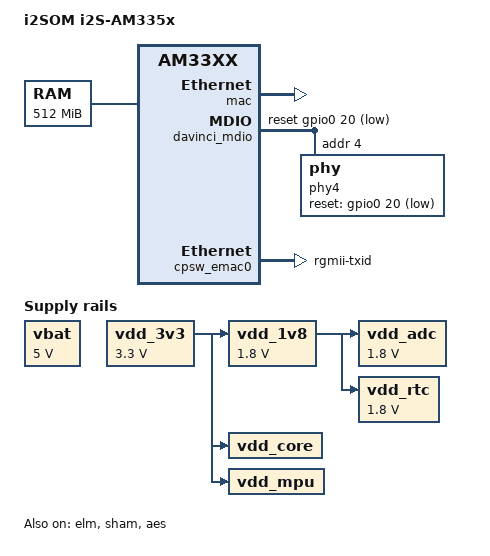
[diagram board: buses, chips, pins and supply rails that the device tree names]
/*
 * Copyright (C) 2012 Texas Instruments Incorporated - http://www.ti.com/
 *
 * This program is free software; you can redistribute it and/or modify
 * it under the terms of the GNU General Public License version 2 as
 * published by the Free Software Foundation.
 */

#include "am33xx.dtsi"
#include <dt-bindings/interrupt-controller/irq.h>

/ {
	model = "i2SOM i2S-AM335x";
	compatible = "ti,i2s_am335x", "ti,am33xx";

	cpus {
		cpu@0 {
			cpu0-supply = <&vdd_core>;
		};
	};

	memory {
		device_type = "memory";
		reg = <0x80000000 0x20000000>; /* 512 MB */
	};

	vbat: fixedregulator@0 {
		compatible = "regulator-fixed";
		regulator-name = "vbat";
		regulator-min-microvolt = <5000000>;
		regulator-max-microvolt = <5000000>;
		regulator-boot-on;
		regulator-always-on;
	};
	
	vdd_3v3: fixedregulator@1{
		compatible = "regulator-fixed";
		regulator-name = "vdd_3v3";
		regulator-min-microvolt = <3300000>;
		regulator-max-microvolt = <3300000>;
		regulator-boot-on;
		regulator-always-on;
	};
	
	vdd_1v8: fixedregulator@2{
		compatible = "regulator-fixed";
		regulator-name = "vdd_1v8";
		regulator-min-microvolt = <1800000>;
		regulator-max-microvolt = <1800000>;
		vin-supply = <&vdd_3v3>;
		regulator-boot-on;
		regulator-always-on;
	};
	
	vdd_core: fixedregulator@4{
		compatible = "regulator-fixed";
		regulator-name = "vdd_core";
		vin-supply = <&vdd_3v3>;
		regulator-boot-on;
		regulator-always-on;
	};
	
	vdd_mpu: fixedregulator@5{
		compatible = "regulator-fixed";
		regulator-name = "vdd_mpu";
		vin-supply = <&vdd_3v3>;
		regulator-boot-on;
		regulator-always-on;
	};
	
	vdd_adc: fixedregulator@6{
		compatible = "regulator-fixed";
		regulator-name = "vdd_adc";
		regulator-min-microvolt = <1800000>;
		regulator-max-microvolt = <1800000>;
		vin-supply = <&vdd_1v8>;
		regulator-boot-on;
		regulator-always-on;
	};
	
	vdd_rtc: fixedregulator@7{
		compatible = "regulator-fixed";
		regulator-name = "vdd_rtc";
		regulator-min-microvolt = <1800000>;
		regulator-max-microvolt = <1800000>;
		vin-supply = <&vdd_1v8>;
		regulator-boot-on;
		regulator-always-on;
	};

	panel {
		compatible = "ti,tilcdc,panel";
		status = "disabled";

		panel-info {
			ac-bias           = <255>;
			ac-bias-intrpt    = <0>;
			dma-burst-sz      = <16>;
			bpp               = <16>;
			fdd               = <0x80>;
			sync-edge         = <0>;
			sync-ctrl         = <1>;
			raster-order      = <0>;
			fifo-th           = <0>;
		};

		display-timings {
			480x272 {
				clock-frequency = <9000000>;
				hactive = <480>;
				vactive = <272>;
				hfront-porch = <9>;
				hback-porch = <43>;
				hsync-len = <4>;
				vback-porch = <12>;
				vfront-porch = <4>;
				vsync-len = <10>;
				hsync-active = <0>;
				vsync-active = <0>;
			};
		};
	};
};

&am33xx_pinmux {

	i2c0_pins: pinmux_i2c0_pins {
		pinctrl-single,pins = <
			0x188 (PIN_INPUT_PULLUP | MUX_MODE0)	/* i2c0_sda.i2c0_sda */
			0x18c (PIN_INPUT_PULLUP | MUX_MODE0)	/* i2c0_scl.i2c0_scl */
		>;
	};

	i2c1_pins_default: pinmux_i2c1_pins {
		pinctrl-single,pins = <
			0x158 (PIN_INPUT_PULLUP | MUX_MODE2)	/* spi0_d1.i2c1_sda */
			0x15c (PIN_INPUT_PULLUP | MUX_MODE2)	/* spi0_cs0.i2c1_scl */
		>;
	};

	i2c1_pins_sleep: i2c1_pins_sleep {
		pinctrl-single,pins = <
			0x158 (PIN_INPUT_PULLDOWN | MUX_MODE7)	/* spi0_d1.i2c1_sda */
			0x15c (PIN_INPUT_PULLDOWN | MUX_MODE7)	/* spi0_cs0.i2c1_scl */
		>;
	};

	uart0_pins: pinmux_uart0_pins {
		pinctrl-single,pins = <
			0x170 (PIN_INPUT_PULLUP | MUX_MODE0)	/* uart0_rxd.uart0_rxd */
			0x174 (PIN_OUTPUT_PULLDOWN | MUX_MODE0)	/* uart0_txd.uart0_txd */
		>;
	};

	uart1_pins_default: pinmux_uart1_pins_default {
		pinctrl-single,pins = <
			0x180 (PIN_INPUT_PULLUP | MUX_MODE0)    /* uart1_rxd.uart1_rxd */
			0x184 (PIN_OUTPUT_PULLDOWN | MUX_MODE0)         /* uart1_txd.uart1_txd */
                >;
        };

	uart1_pins_sleep: pinmux_uart1_pins_sleep {
		pinctrl-single,pins = <
			0x180 (PIN_INPUT_PULLDOWN | MUX_MODE7)
			0x184 (PIN_INPUT_PULLDOWN | MUX_MODE7)
                >;
        };


	uart2_pins_default: pinmux_uart2_pins_default {
		pinctrl-single,pins = <
			0x10c ( PIN_INPUT | MUX_MODE6 ) /* (H17) gmii1_crs.uart2_rxd */
			0x110 ( PIN_OUTPUT | MUX_MODE6 ) /* (J15) gmii1_rxer.uart2_txd */
		>;
	};

	uart2_pins_sleep: pinmux_uart2_pins_sleep {
		pinctrl-single,pins = <
			0x10C (PIN_INPUT_PULLDOWN | MUX_MODE7)
			0x110 (PIN_INPUT_PULLDOWN | MUX_MODE7)
		>;
	};

	ehrpwm0_pins_default: backlight_pins {
		pinctrl-single,pins = <
			0x150 0x3	/* (A17) spi0_sclk.ehrpwm0A */
		>;
	};

	ehrpwm0_pins_sleep: ehrpwm0_pins_sleep {
		pinctrl-single,pins = <
			0x150  (PIN_INPUT_PULLDOWN | MUX_MODE3)	/* (A17) spi0_sclk.ehrpwm0A */
		>;
	};

	cpsw_default: cpsw_default {
		pinctrl-single,pins = <
			/* Slave 1 */
			0x114 (PIN_OUTPUT_PULLDOWN | MUX_MODE2)	/* mii1_txen.rgmii1_tctl */
			0x118 (PIN_INPUT_PULLDOWN | MUX_MODE2)	/* mii1_rxdv.rgmii1_rctl */
			0x11c (PIN_OUTPUT_PULLDOWN | MUX_MODE2)	/* mii1_txd3.rgmii1_td3 */
			0x120 (PIN_OUTPUT_PULLDOWN | MUX_MODE2)	/* mii1_txd2.rgmii1_td2 */
			0x124 (PIN_OUTPUT_PULLDOWN | MUX_MODE2)	/* mii1_txd1.rgmii1_td1 */
			0x128 (PIN_OUTPUT_PULLDOWN | MUX_MODE2)	/* mii1_txd0.rgmii1_td0 */
			0x12c (PIN_OUTPUT_PULLDOWN | MUX_MODE2)	/* mii1_txclk.rgmii1_tclk */
			0x130 (PIN_INPUT_PULLDOWN | MUX_MODE2)	/* mii1_rxclk.rgmii1_rclk */
			0x134 (PIN_INPUT_PULLDOWN | MUX_MODE2)	/* mii1_rxd3.rgmii1_rd3 */
			0x138 (PIN_INPUT_PULLDOWN | MUX_MODE2)	/* mii1_rxd2.rgmii1_rd2 */
			0x13c (PIN_INPUT_PULLDOWN | MUX_MODE2)	/* mii1_rxd1.rgmii1_rd1 */
			0x140 (PIN_INPUT_PULLDOWN | MUX_MODE2)	/* mii1_rxd0.rgmii1_rd0 */
			0x1b4 (PIN_OUTPUT_PULLUP | MUX_MODE7)	/* XDMA_EVENT_INTR1.gpio0_20 */
		>;
	};

	cpsw_sleep: cpsw_sleep {
		pinctrl-single,pins = <
			/* Slave 1 reset value */
			0x114 (PIN_INPUT_PULLDOWN | MUX_MODE7)
			0x118 (PIN_INPUT_PULLDOWN | MUX_MODE7)
			0x11c (PIN_INPUT_PULLDOWN | MUX_MODE7)
			0x120 (PIN_INPUT_PULLDOWN | MUX_MODE7)
			0x124 (PIN_INPUT_PULLDOWN | MUX_MODE7)
			0x128 (PIN_INPUT_PULLDOWN | MUX_MODE7)
			0x12c (PIN_INPUT_PULLDOWN | MUX_MODE7)
			0x130 (PIN_INPUT_PULLDOWN | MUX_MODE7)
			0x134 (PIN_INPUT_PULLDOWN | MUX_MODE7)
			0x138 (PIN_INPUT_PULLDOWN | MUX_MODE7)
			0x13c (PIN_INPUT_PULLDOWN | MUX_MODE7)
			0x140 (PIN_INPUT_PULLDOWN | MUX_MODE7)
			0x1b4 (PIN_OUTPUT_PULLUP | MUX_MODE7)	/* XDMA_EVENT_INTR1.gpio0_20 */
		>;
	};

	davinci_mdio_default: davinci_mdio_default {
		pinctrl-single,pins = <
			/* MDIO */
			0x148 (PIN_INPUT_PULLUP | SLEWCTRL_FAST | MUX_MODE0)	/* mdio_data.mdio_data */
			0x14c (PIN_OUTPUT_PULLUP | MUX_MODE0)			/* mdio_clk.mdio_clk */
		>;
	};

	davinci_mdio_sleep: davinci_mdio_sleep {
		pinctrl-single,pins = <
			/* MDIO reset value */
			0x148 (PIN_INPUT_PULLDOWN | MUX_MODE7)
			0x14c (PIN_INPUT_PULLDOWN | MUX_MODE7)
		>;
	};

	mmc1_pins_default: pinmux_mmc1_pins {
		pinctrl-single,pins = <
			0x0F0 (PIN_INPUT_PULLUP | MUX_MODE0)    /* mmc0_dat3.mmc0_dat3 */
			0x0F4 (PIN_INPUT_PULLUP | MUX_MODE0)    /* mmc0_dat2.mmc0_dat2 */
			0x0F8 (PIN_INPUT_PULLUP | MUX_MODE0)    /* mmc0_dat1.mmc0_dat1 */
			0x0FC (PIN_INPUT_PULLUP | MUX_MODE0)    /* mmc0_dat0.mmc0_dat0 */
			0x100 (PIN_INPUT_PULLUP | MUX_MODE0)    /* mmc0_clk.mmc0_clk */
			0x104 (PIN_INPUT_PULLUP | MUX_MODE0)    /* mmc0_cmd.mmc0_cmd */
			0x1A4 (PIN_INPUT_PULLUP | MUX_MODE7)    /* mcasp0_fsr.gpio3_19 */
			
		>;
	};

	mmc1_pins_sleep: pinmux_mmc1_pins_sleep {
		pinctrl-single,pins = <
			0x0F0 (PIN_INPUT_PULLDOWN | MUX_MODE7)
			0x0F4 (PIN_INPUT_PULLDOWN | MUX_MODE7)
			0x0F8 (PIN_INPUT_PULLDOWN | MUX_MODE7)
			0x0FC (PIN_INPUT_PULLDOWN | MUX_MODE7)
			0x100 (PIN_INPUT_PULLDOWN | MUX_MODE7)
			0x104 (PIN_INPUT_PULLDOWN | MUX_MODE7)
			0x1A4 (PIN_INPUT_PULLDOWN | MUX_MODE7)
		>;
	};

	/* wl12xx/wl18xx card on mmc3 */
	mmc3_pins: pinmux_mmc3_pins {
		pinctrl-single,pins = <
			0x30 (PIN_INPUT_PULLUP | MUX_MODE3)	/* gpmc_a12.mmc2_dat0, INPUT_PULLUP | MODE3 */
			0x34 (PIN_INPUT_PULLUP | MUX_MODE3)	/* gpmc_a13.mmc2_dat1, INPUT_PULLUP | MODE3 */
			0x38 (PIN_INPUT_PULLUP | MUX_MODE3)	/* gpmc_a14.mmc2_dat2, INPUT_PULLUP | MODE3 */
			0x3c (PIN_INPUT_PULLUP | MUX_MODE3)	/* gpmc_a15.mmc2_dat3, INPUT_PULLUP | MODE3 */
			0x88 (PIN_INPUT_PULLUP | MUX_MODE3)	/* gpmc_csn3.mmc2_cmd, INPUT_PULLUP | MODE3 */
			0x8C (PIN_INPUT_PULLUP | MUX_MODE3)	/* gpmc_clk.mmc2_clk, INPUT_PULLUP | MODE3 */
		>;
	};

	/* wl12xx/wl18xx card enable/irq GPIOs. */
	wlan_pins: pinmux_wlan_pins {
		pinctrl-single,pins = <
			0x20 (PIN_OUTPUT_PULLDOWN | MUX_MODE7)	/* WLAN_EN gpmc_ad7.gpio0_22 */
			0x24 (PIN_INPUT | MUX_MODE7)		/* BT_EN gpmc_ad9.gpio0_23 */
		>;
	};

	lcd_pins_default: lcd_pins_default {
		pinctrl-single,pins = <
			0xa0 (PIN_OUTPUT | MUX_MODE0)		/* LCD_DATA0.lcd_data0 */
			0xa4 (PIN_OUTPUT | MUX_MODE0)		/* LCD_DATA1.lcd_data1 */
			0xa8 (PIN_OUTPUT | MUX_MODE0)		/* lcd_data2.lcd_data2 */
			0xac (PIN_OUTPUT | MUX_MODE0)		/* lcd_data3.lcd_data3 */
			0xb0 (PIN_OUTPUT | MUX_MODE0)		/* lcd_data4.lcd_data4 */
			0xb4 (PIN_OUTPUT | MUX_MODE0)		/* lcd_data5.lcd_data5 */
			0xb8 (PIN_OUTPUT | MUX_MODE0)		/* lcd_data6.lcd_data6 */
			0xbc (PIN_OUTPUT | MUX_MODE0)		/* lcd_data7.lcd_data7 */
			0xc0 (PIN_OUTPUT | MUX_MODE0)		/* lcd_data8.lcd_data8 */
			0xc4 (PIN_OUTPUT | MUX_MODE0)		/* lcd_data9.lcd_data9 */
			0xc8 (PIN_OUTPUT | MUX_MODE0)		/* lcd_data10.lcd_data10 */
			0xcc (PIN_OUTPUT | MUX_MODE0)		/* lcd_data11.lcd_data11 */
			0xd0 (PIN_OUTPUT | MUX_MODE0)		/* lcd_data12.lcd_data12 */
			0xd4 (PIN_OUTPUT | MUX_MODE0)		/* lcd_data13.lcd_data13 */
			0xd8 (PIN_OUTPUT | MUX_MODE0)		/* lcd_data14.lcd_data14 */
			0xdc (PIN_OUTPUT | MUX_MODE0)		/* lcd_data15.lcd_data15 */
			0xe0 (PIN_OUTPUT | MUX_MODE0)		/* lcd_vsync.lcd_vsync */
			0xe4 (PIN_OUTPUT | MUX_MODE0)		/* lcd_hsync.lcd_hsync */
			0xe8 (PIN_OUTPUT | MUX_MODE0)		/* lcd_pclk.lcd_pclk */
			0xec (PIN_OUTPUT | MUX_MODE0)		/* lcd_ac_bias_en.lcd_ac_bias_en */
		>;
	};

	lcd_pins_sleep: lcd_pins_sleep {
		pinctrl-single,pins = <
			0xa0 (PULL_DISABLE | MUX_MODE7)		/* lcd_data0.lcd_data0 */
			0xa4 (PULL_DISABLE | MUX_MODE7)		/* lcd_data1.lcd_data1 */
			0xa8 (PULL_DISABLE | MUX_MODE7)		/* lcd_data2.lcd_data2 */
			0xac (PULL_DISABLE | MUX_MODE7)		/* lcd_data3.lcd_data3 */
			0xb0 (PULL_DISABLE | MUX_MODE7)		/* lcd_data4.lcd_data4 */
			0xb4 (PULL_DISABLE | MUX_MODE7)		/* lcd_data5.lcd_data5 */
			0xb8 (PULL_DISABLE | MUX_MODE7)		/* lcd_data6.lcd_data6 */
			0xbc (PULL_DISABLE | MUX_MODE7)		/* lcd_data7.lcd_data7 */
			0xc0 (PULL_DISABLE | MUX_MODE7)		/* lcd_data8.lcd_data8 */
			0xc4 (PULL_DISABLE | MUX_MODE7)		/* lcd_data9.lcd_data9 */
			0xc8 (PULL_DISABLE | MUX_MODE7)		/* lcd_data10.lcd_data10 */
			0xcc (PULL_DISABLE | MUX_MODE7)		/* lcd_data11.lcd_data11 */
			0xd0 (PULL_DISABLE | MUX_MODE7)		/* lcd_data12.lcd_data12 */
			0xd4 (PULL_DISABLE | MUX_MODE7)		/* lcd_data13.lcd_data13 */
			0xd8 (PULL_DISABLE | MUX_MODE7)		/* lcd_data14.lcd_data14 */
			0xdc (PULL_DISABLE | MUX_MODE7)		/* lcd_data15.lcd_data15 */
			0xe0 (PIN_INPUT_PULLDOWN | MUX_MODE7)	/* lcd_vsync.lcd_vsync, OUTPUT | MODE0 */
			0xe4 (PIN_INPUT_PULLDOWN | MUX_MODE7)	/* lcd_hsync.lcd_hsync */
			0xe8 (PIN_INPUT_PULLDOWN | MUX_MODE7)	/* lcd_pclk.lcd_pclk */
			0xec (PIN_INPUT_PULLDOWN | MUX_MODE7)	/* lcd_ac_bias_en.lcd_ac_bias_en */
		>;
	};

	dcan0_pins_default: dcan0_pins_default {
		pinctrl-single,pins = <
			0x178 (PIN_OUTPUT_PULLUP | MUX_MODE2) /* uart1_ctsn.d_can0_tx */
			0x17c (PIN_INPUT_PULLUP | MUX_MODE2) /* uart1_rtsn.d_can0_rx */
		>;
	};

	dcan1_pins_default: dcan1_pins_default {
		pinctrl-single,pins = <
			0x168 (PIN_OUTPUT_PULLUP | MUX_MODE2) /* uart0_ctsn.d_can1_tx */
			0x16c (PIN_INPUT_PULLUP | MUX_MODE2) /* uart0_rtsn.d_can1_rx */
		>;
	};

	spi0_pins: spi0_pins {
		pinctrl-single,pins = <
			0x150 (PIN_INPUT_PULLUP | MUX_MODE0) /* spi0_sclk.spi0_sclk */
			0x15C (PIN_INPUT_PULLUP | MUX_MODE0) /* spi0_cs0.spi0_cs0 */
			0x154 (PIN_INPUT_PULLUP | MUX_MODE0) /* spi0_d0.spi0_d0 */
			0x158 (PIN_INPUT_PULLUP | MUX_MODE0) /* spi0_d1.spi0_d1 */
		>;
	};
};

&i2c0 {
	status = "disabled";
};

&cppi41dma  {
	status = "okay";
};

&elm {
	status = "okay";
};

&epwmss0 {
	status = "disabled";
};

&mcasp0 {
	status = "disabled";
};

&mcasp1 {
	status = "disabled";
};

&mac {
	pinctrl-names = "default", "sleep";
	pinctrl-0 = <&cpsw_default>;
	pinctrl-1 = <&cpsw_sleep>;
	//dual_emac = <1>;
	slaves = <1>;
	//active_slave = <1>;
	status = "okay";
};

&davinci_mdio {
	pinctrl-names = "default", "sleep";
	pinctrl-0 = <&davinci_mdio_default>;
	pinctrl-1 = <&davinci_mdio_sleep>;
	reset-gpios = <&gpio0 20 GPIO_ACTIVE_LOW>;
	status = "okay";

	phy4: phy@4 {
		reg = <4>;
		reset = <&gpio0 20 GPIO_ACTIVE_LOW>;
	};
};

&cpsw_emac0 {
	phy_id = <&davinci_mdio>, <4>;
	phy-mode = "rgmii-txid";
	dual_emac_res_vlan = <0>;
};

&sham {
	status = "okay";
};

&aes {
	status = "okay";
};

&lcdc {
	status = "disabled";	
};

&dcan0 {
	pinctrl-names = "default";
	pinctrl-0 = <&dcan0_pins_default>;
	status = "disabled";
};

&dcan1 {
	pinctrl-names = "default";
	pinctrl-0 = <&dcan1_pins_default>;
	status = "disabled";
};

&rtc {
	system-power-controller;
};

&sgx {
	status = "disabled";
};
